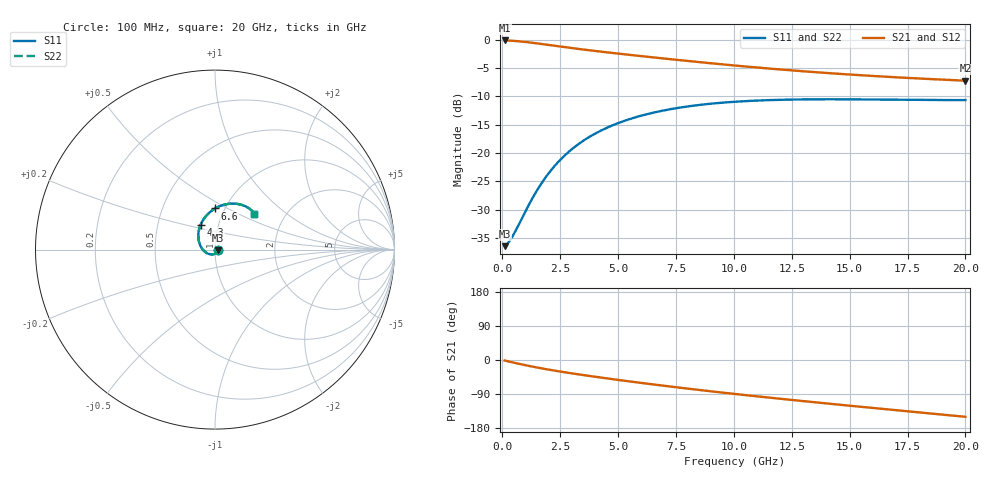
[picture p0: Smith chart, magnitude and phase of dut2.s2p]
! Touchstone file exported from HFSS 2024.1.0
!  File:  C:/UserFiles/LocalFiles/RDL_TSV_Batchsim/temp_RDL_TSV_2_1779395405.aedt
!  Generated:  04:43:16 AM May 22, 2026
!  Design:  RDL_TSV
!  Project:  temp_RDL_TSV_2_1779395405
!  Setup:  Setup1
!  Solution:  Sweep
! Variables:
!  dtsv = 12.22um
!  hbump = 3um
!  htsv = 78.29um
!  ldown = 240.35um
!  lrdl = 261.97um
!  p = 40
!  p1 = 45.14um
!  rhole = 10um
!  subl = 1768.93um
!  t = 450um
!  tdown = 4.33um
!  trdl = 2.23um
!  viad = 10um
!  wdown = 27.26um
!  wrdl = 13.59um
!  xbump = 18um
# GHz S MA R 50.000000
! Terminal data exported
! Port[1] = TM1_1_T1
! Port[2] = TM1_4_T1
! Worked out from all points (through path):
!   200 points, 100 MHz to 20 GHz, reference 50 ohm
!   highest |S21| = -0.13 dB at 100 MHz (marker M1); lowest = -7.2 dB at 20 GHz (marker M2)
!   group delay of S21, straight-line fit = 19.6 ps
!   lowest |S11| = -36.4 dB at 100 MHz (marker M3), VSWR 1.03, Z = 51.5 - j0.371 ohm
!   |S11| at or under -10 dB: start of sweep to end of sweep
!   |S22| runs from -36.4 to -10.5 dB; largest |S21 - S12| = 2.2e-14
!   S11 on the Smith chart (normalised r, x): 100 MHz: 1.03, -0.01; 4.3 GHz: 0.82, +0.23; 6.6 GHz: 0.90, +0.44; 20 GHz: 1.41, +0.60
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0.1  0.01513 -13.8  0.9846 -1.5  0.9846 -1.5  0.01513 -13.8
! Gamma 0 0 0 0
! Port Impedance 50 0 50 0
0.2  0.01573 -27.6  0.9833 -2.9  0.9833 -2.9  0.01573 -27.6
0.4  0.01788 -54.4  0.9789 -5.7  0.9789 -5.7  0.01788 -54.4
0.9  0.02794 -109.6  0.96 -12.5  0.96 -12.5  0.02793 -109.6
1.3  0.03999 -140.8  0.9392 -17.5  0.9392 -17.5  0.03999 -140.8
1.6  0.05069 -158.9  0.922 -21.0  0.922 -21.0  0.0507 -158.9
1.9  0.06235 -173.8  0.9044 -24.3  0.9044 -24.3  0.06237 -173.8
2.2  0.0746 173.7  0.887 -27.5  0.887 -27.5  0.07463 173.7
2.6  0.09135 159.8  0.8646 -31.4  0.8646 -31.4  0.0914 159.7
3  0.1081 148.1  0.8434 -35.2  0.8434 -35.2  0.1082 148.0
3.5  0.1286 135.9  0.8188 -39.8  0.8188 -39.8  0.1287 135.9
4.3  0.1595 120.2  0.7829 -46.7  0.7829 -46.7  0.1596 120.2
5.4  0.1966 103.6  0.7387 -55.8  0.7387 -55.8  0.1967 103.6
6.6  0.2294 89.8  0.6952 -65.1  0.6952 -65.1  0.2296 89.7
6.8  0.2341 87.8  0.6884 -66.7  0.6884 -66.7  0.2343 87.7
8.3  0.2628 74.9  0.6404 -77.7  0.6404 -77.7  0.2631 74.9
10.1  0.2842 63.4  0.5904 -90.0  0.5904 -90.0  0.2846 63.4
11.7  0.2941 55.8  0.5529 -100.4  0.5529 -100.4  0.2945 55.7
13.4  0.2981 49.8  0.5194 -111.0  0.5194 -111.0  0.2985 49.8
15  0.2979 45.9  0.4931 -120.6  0.4931 -120.6  0.2984 45.8
16.7  0.2958 43.2  0.4699 -130.7  0.4699 -130.7  0.2963 43.2
20  0.2936 41.8  0.4352 -149.9  0.4352 -149.9  0.294 41.7
